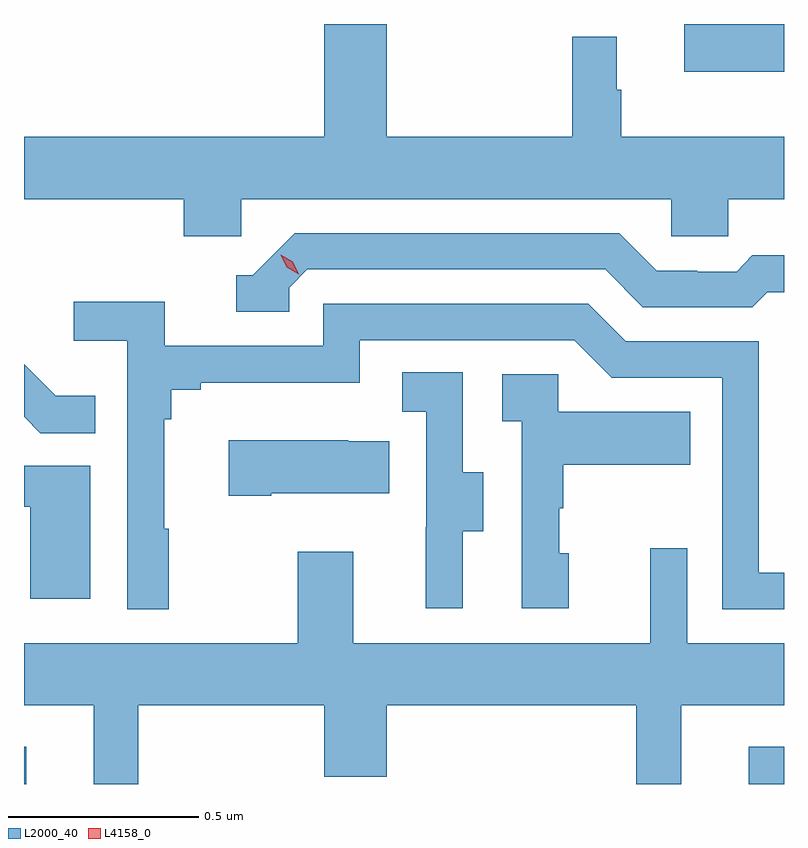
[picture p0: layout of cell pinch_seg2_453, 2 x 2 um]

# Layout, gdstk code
import gdstk
lib = gdstk.Library(unit=1e-6, precision=1e-09)
def R(c, l, rs):  # rectangles x0, y0, x1, y1
    for r in rs: c.add(gdstk.rectangle(r[:2], r[2:], *l))
def P(c, l, *ps):  # polygons
    for p in ps: c.add(gdstk.Polygon(p, *l))
L2000_40 = (2000, 40)
L4158_0 = (4158, 0)

pinch_seg2_453 = lib.new_cell('pinch_seg2_453')
R(pinch_seg2_453, L2000_40, [(907.474,619.457,907.48,619.555), (909.381,619.457,909.474,619.555), (909.212,621.332,909.474,621.457)])
P(pinch_seg2_453, L2000_40, [(908.046,620.996),(909.177,620.996),(909.177,620.898),(909.327,620.898),(909.327,620.996),(909.474,620.996),(909.474,621.16),(909.046,621.16),(909.046,621.284),(909.034,621.284),(909.034,621.424),(908.917,621.424),(908.917,621.16),(908.428,621.16),(908.428,621.457),(908.264,621.457),(908.264,621.16),(907.474,621.16),(907.474,620.996),(907.895,620.996),(907.895,620.898),(908.046,620.898)],
  [(908.172,620.763),(908.22,620.811),(909.003,620.811),(909.102,620.712),(909.391,620.712),(909.43,620.751),(909.474,620.751),(909.474,620.848),(909.391,620.848),(909.349,620.805),(909.246,620.805),(909.246,620.808),(909.139,620.808),(909.04,620.907),(908.187,620.907),(908.076,620.796),(908.033,620.796),(908.033,620.7),(908.172,620.7)],
  [(907.855,620.129),(907.843,620.129),(907.843,620.417),(907.862,620.417),(907.862,620.494),(907.939,620.494),(907.939,620.513),(908.358,620.513),(908.358,620.625),(908.922,620.625),(909.021,620.526),(909.312,620.526),(909.312,619.917),(909.474,619.917),(909.474,620.013),(909.408,620.013),(909.408,620.622),(909.058,620.622),(908.959,620.721),(908.262,620.721),(908.262,620.61),(907.844,620.61),(907.844,620.726),(907.605,620.726),(907.605,620.624),(907.746,620.624),(907.746,619.917),(907.855,619.917)],
  [(907.661,620.479),(907.557,620.479),(907.474,620.562),(907.474,620.423),(907.517,620.38),(907.661,620.38)],
  [(908.629,620.122),(908.683,620.122),(908.683,620.277),(908.628,620.277),(908.628,620.54),(908.469,620.54),(908.469,620.437),(908.532,620.437),(908.532,620.133),(908.531,620.133),(908.531,619.92),(908.629,619.92)],
  [(908.908,620.064),(908.883,620.064),(908.883,620.183),(908.893,620.183),(908.893,620.297),(909.227,620.297),(909.227,620.437),(908.88,620.437),(908.88,620.535),(908.733,620.535),(908.733,620.411),(908.784,620.411),(908.784,619.92),(908.908,619.92)],
  [(908.125,620.222),(908.435,620.222),(908.435,620.359),(908.327,620.359),(908.327,620.362),(908.013,620.362),(908.013,620.215),(908.125,620.215)],
  [(907.648,620.295),(907.474,620.295),(907.474,620.187),(907.49,620.187),(907.49,619.944),(907.648,619.944)],
  [(907.775,619.664),(908.264,619.664),(908.264,619.476),(908.428,619.476),(908.428,619.664),(909.085,619.664),(909.085,619.457),(909.203,619.457),(909.203,619.664),(909.474,619.664),(909.474,619.828),(909.219,619.828),(909.219,620.077),(909.122,620.077),(909.122,619.828),(908.341,619.828),(908.341,620.068),(908.194,620.068),(908.194,619.828),(907.474,619.828),(907.474,619.664),(907.658,619.664),(907.658,619.457),(907.775,619.457)])
P(pinch_seg2_453, L4158_0, [(908.197,620.798),(908.166,620.817),(908.15,620.85),(908.15,620.85),(908.15,620.85),(908.181,620.831),(908.197,620.798),(908.197,620.798)])

lib.write_gds('pinch_seg2_453.gds')
